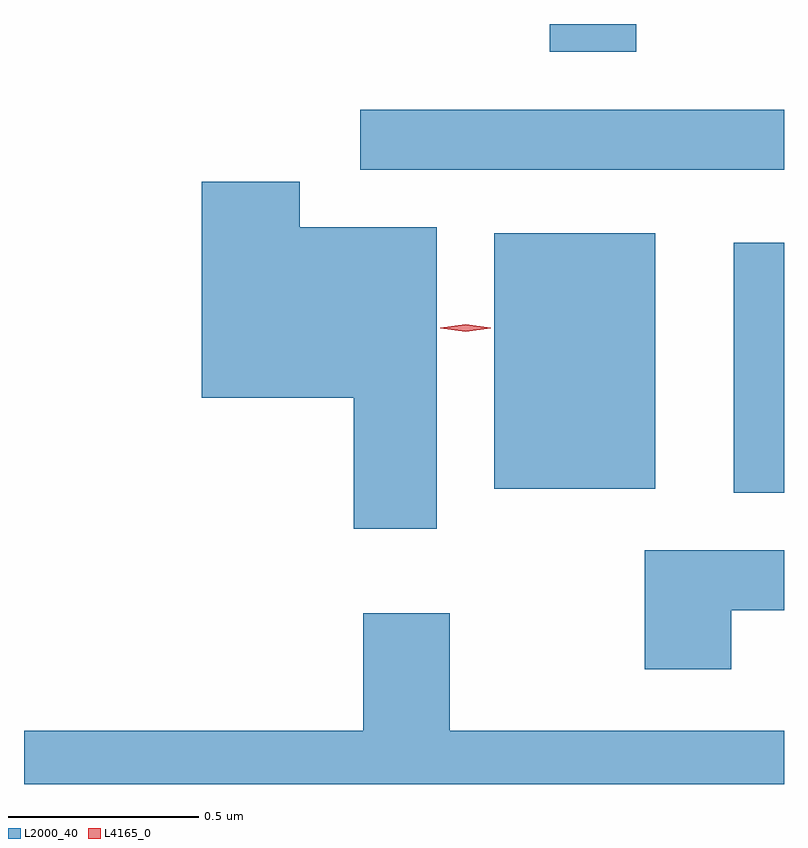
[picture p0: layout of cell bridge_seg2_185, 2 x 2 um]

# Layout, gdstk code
import gdstk
lib = gdstk.Library(unit=1e-6, precision=1e-09)
def R(c, l, rs):  # rectangles x0, y0, x1, y1
    for r in rs: c.add(gdstk.rectangle(r[:2], r[2:], *l))
def P(c, l, *ps):  # polygons
    for p in ps: c.add(gdstk.Polygon(p, *l))
L2000_40 = (2000, 40)
L4165_0 = (4165, 0)

bridge_seg2_185 = lib.new_cell('bridge_seg2_185')
R(bridge_seg2_185, L2000_40, [(838.266,991.491,838.398,992.149), (837.636,991.501,838.059,992.174), (837.283,992.341,838.398,992.499), (837.781,992.651,838.009,992.724)])
P(bridge_seg2_185, L2000_40, [(837.484,992.189),(837.124,992.189),(837.124,992.309),(836.866,992.309),(836.866,991.741),(837.266,991.741),(837.266,991.396),(837.484,991.396)],
  [(838.259,991.181),(838.398,991.181),(838.398,991.339),(838.031,991.339),(838.031,991.026),(838.259,991.026)],
  [(838.398,990.864),(837.519,990.864),(837.519,991.174),(837.291,991.174),(837.291,990.864),(836.398,990.864),(836.398,990.724),(838.398,990.724)])
P(bridge_seg2_185, L4165_0, [(837.56,991.914),(837.494,991.924),(837.493,991.924),(837.494,991.925),(837.56,991.934),(837.626,991.925),(837.626,991.924),(837.626,991.924)])

lib.write_gds('bridge_seg2_185.gds')
